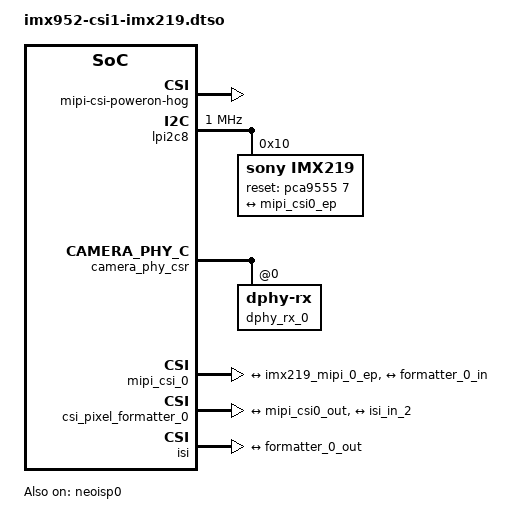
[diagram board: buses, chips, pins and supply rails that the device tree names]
// SPDX-License-Identifier: (GPL-2.0+ OR MIT)
/*
 * Copyright 2026 CompuLab LTD.
 */

/dts-v1/;
/plugin/;

#include <dt-bindings/gpio/gpio.h>
#include "../freescale/imx952-clock.h"
#include "../freescale/imx952-pinfunc.h"

&scmi_iomuxc {
	pinctrl_csi_mclk: csi_mclk {
		fsl,pins = <
			IMX952_PAD_CCM_CLKO1__CCMSRCGPCMIX_TOP_CLKO_1    0x39e
		>;
	};
};

&pca9555 {
	mipi-csi-poweron-hog {
		gpio-hog;
		gpios = <6 GPIO_ACTIVE_HIGH>;
		output-high;
		status = "okay";
	};
};

&lpi2c8 {
	#address-cells = <1>;
	#size-cells = <0>;
	clock-frequency = <1000000>;
	pinctrl-names = "default";
	pinctrl-0 = <&pinctrl_lpi2c8>;
	status = "okay";

	imx219: camera@10 {
		compatible = "sony,imx219";
		reg = <0x10>;
		pinctrl-names = "default";
		pinctrl-0 = <&pinctrl_csi_mclk>;

		clocks = <&scmi_clk IMX952_CLK_LPI2C8>;
		clock-names = "xclk";

		assigned-clocks = <&scmi_clk IMX952_CLK_LPI2C8>;
		assigned-clock-parents = <&scmi_clk IMX952_CLK_OSC24M>;
		assigned-clock-rates = <24000000>;
		reset-gpios = <&pca9555 7 GPIO_ACTIVE_HIGH>;
		orientation = <2>;
		rotation = <0>;
		status = "okay";

		port {
			imx219_mipi_0_ep: endpoint {
				remote-endpoint = <&mipi_csi0_ep>;
				data-lanes = <1 2>;
				clock-lanes = <0>;
				clock-noncontinuous;
				link-frequencies = /bits/ 64 <456000000>;

			};
		};
	};
};

&camera_phy_csr {
	#address-cells = <1>;
	#size-cells = <1>;

	dphy_rx_0: dphy-rx@0 {
		reg = <0x0 0x10>;
		clocks = <&scmi_clk IMX952_CLK_CAMPHYCFG>,
			 <&scmi_clk IMX952_CLK_CGC_CAMCSI0>;
		clock-names = "phy_cfg", "csi0";
		assigned-clocks = <&scmi_clk IMX952_CLK_CAMPHYCFG>;
		assigned-clock-parents = <&scmi_clk IMX952_CLK_OSC24M>;
		assigned-clock-rates = <24000000>;
		fsl,csis = <&mipi_csi_0>;
		status = "okay";
	};
};

&mipi_csi_0 {
	status = "okay";

	ports {
		#address-cells = <1>;
		#size-cells = <0>;

		port@0 {
			reg = <0>;
			mipi_csi0_ep: endpoint {
				remote-endpoint = <&imx219_mipi_0_ep>;
				data-lanes = <1 2>;
				clock-lanes = <0>;
			};
		};

		port@1 {
			reg = <1>;
				mipi_csi0_out: endpoint {
				remote-endpoint = <&formatter_0_in>;
			};
		};
	};
};

&csi_pixel_formatter_0 {
	status = "okay";

	ports {
		#address-cells = <1>;
		#size-cells = <0>;

		port@0 {
			reg = <0>;

			formatter_0_in: endpoint {
				remote-endpoint = <&mipi_csi0_out>;
			};
		};

		port@1 {
			reg = <1>;

			formatter_0_out: endpoint {
				remote-endpoint = <&isi_in_2>;
			};
		};
	};
};


&isi {
	status = "okay";

	ports {
		#address-cells = <1>;
		#size-cells = <0>;

		port@2 {
			reg = <2>;

			isi_in_2: endpoint {
				remote-endpoint = <&formatter_0_out>;
			};
		};
	};
};

&neoisp0 {
	status = "okay";
};
